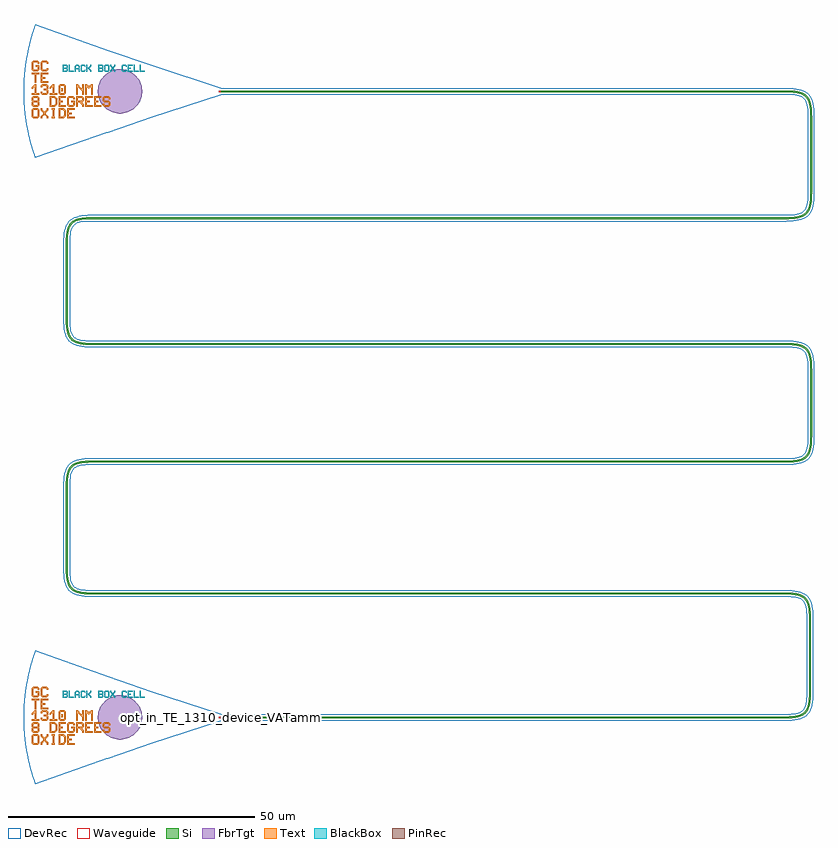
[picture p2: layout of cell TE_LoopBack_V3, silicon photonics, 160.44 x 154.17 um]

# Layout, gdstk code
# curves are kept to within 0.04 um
import gdstk
lib = gdstk.Library(unit=1e-6, precision=1e-09)
def R(c, l, rs):  # rectangles x0, y0, x1, y1
    for r in rs: c.add(gdstk.rectangle(r[:2], r[2:], *l))
def P(c, l, *ps):  # polygons
    for p in ps: c.add(gdstk.Polygon(p, *l))
Si = (1, 0)
PinRec = (1, 10)
Waveguide = (1, 99)
Text = (10, 0)
DevRec = (68, 0)
FbrTgt = (81, 0)
BlackBox = (998, 0)

waveguide_17 = lib.new_cell('Waveguide$17')
P(waveguide_17, Si, [(39.99,267.265),(39.99,267.615),(154.55,267.615),(155.762,267.655),(156.608,267.754),(157.44,267.965),(157.99,268.224),(158.574,268.726),(158.932,269.316),(159.178,270.083),(159.336,271.229),(159.375,272.44),(159.365,288.224),(159.207,289.802),(159.025,290.48),(158.825,290.93),(158.573,291.305),(158.264,291.614),(157.889,291.866),(157.314,292.108),(156.117,292.344),(154.55,292.415),(13.78,292.415),(12.734,292.443),(11.827,292.533),(11.195,292.657),(10.513,292.889),(10.049,293.144),(9.656,293.466),(9.333,293.86),(9.078,294.324),(8.846,295.006),(8.722,295.638),(8.606,297.369),(8.61,314.776),(8.699,316.122),(8.887,317.07),(9.199,317.848),(9.656,318.464),(10.159,318.857),(10.91,319.192),(11.828,319.398),(13.135,319.506),(154.79,319.515),(156.002,319.555),(156.848,319.654),(157.915,319.959),(158.325,320.184),(158.742,320.544),(159.007,320.901),(159.221,321.331),(159.418,321.983),(159.524,322.603),(159.614,324.123),(159.613,338.413),(159.543,339.763),(159.347,340.829),(159.171,341.32),(158.88,341.823),(158.504,342.219),(158.129,342.471),(157.554,342.713),(156.847,342.882),(155.219,343.016),(13.78,343.02),(12.542,343.06),(11.662,343.165),(10.909,343.344),(10.39,343.552),(9.944,343.823),(9.486,344.259),(9.136,344.806),(8.928,345.325),(8.749,346.078),(8.644,346.958),(8.605,348.195),(8.623,364.569),(8.699,365.502),(8.887,366.45),(9.137,367.11),(9.569,367.753),(10.159,368.237),(11.051,368.614),(12.175,368.822),(13.559,368.894),(154.79,368.895),(156.002,368.935),(156.848,369.034),(157.555,369.203),(158.13,369.445),(158.666,369.844),(159.007,370.281),(159.266,370.831),(159.448,371.509),(159.562,372.328),(159.614,373.503),(159.615,389.44),(159.523,391.178),(159.265,392.33),(159.065,392.78),(158.813,393.155),(158.504,393.464),(158.129,393.716),(157.679,393.916),(157.147,394.068),(156.182,394.212),(154.79,394.265),(39.99,394.265),(39.99,394.615),(155.011,394.614),(156.395,394.542),(157.374,394.374),(158.179,394.084),(158.822,393.652),(159.306,393.062),(159.595,392.448),(159.82,391.558),(159.937,390.486),(159.965,373.72),(159.926,372.483),(159.821,371.603),(159.642,370.85),(159.434,370.331),(159.084,369.784),(158.626,369.348),(158.18,369.077),(157.661,368.869),(156.908,368.69),(156.028,368.585),(154.79,368.545),(13.563,368.544),(12.213,368.474),(11.147,368.278),(10.441,367.996),(9.829,367.517),(9.505,367.06),(9.223,366.354),(9.047,365.458),(8.965,364.354),(8.955,348.195),(9.008,346.803),(9.093,346.138),(9.262,345.431),(9.504,344.856),(9.756,344.481),(10.065,344.172),(10.546,343.866),(11.146,343.638),(11.722,343.509),(12.568,343.41),(13.78,343.37),(155.225,343.366),(156.907,343.226),(157.66,343.047),(158.179,342.839),(158.625,342.568),(159.083,342.132),(159.433,341.585),(159.641,341.066),(159.871,339.977),(159.963,338.417),(159.964,324.119),(159.872,322.559),(159.724,321.756),(159.545,321.201),(159.307,320.719),(159.002,320.308),(158.626,319.968),(158.18,319.697),(157.661,319.489),(156.908,319.31),(156.028,319.205),(154.79,319.165),(13.147,319.156),(12.043,319.074),(11.147,318.898),(10.441,318.616),(9.904,318.216),(9.505,317.68),(9.223,316.974),(9.047,316.078),(8.96,314.77),(8.955,297.59),(9.046,295.853),(9.152,295.233),(9.349,294.581),(9.623,294.056),(9.904,293.714),(10.245,293.434),(10.77,293.16),(11.879,292.879),(13.78,292.765),(154.55,292.765),(156.155,292.692),(157.42,292.442),(157.939,292.234),(158.486,291.884),(158.843,291.527),(159.131,291.098),(159.355,290.598),(159.551,289.868),(159.715,288.236),(159.725,272.44),(159.686,271.203),(159.52,270.007),(159.252,269.174),(159.067,268.819),(158.762,268.408),(158.172,267.924),(157.558,267.635),(156.828,267.439),(155.788,267.305),(154.55,267.265)])
P(waveguide_17, Waveguide, [(39.99,267.265),(39.99,267.615),(154.55,267.615),(155.762,267.655),(156.608,267.754),(157.44,267.965),(157.99,268.224),(158.574,268.726),(158.932,269.316),(159.178,270.083),(159.336,271.229),(159.375,272.44),(159.365,288.224),(159.207,289.802),(159.025,290.48),(158.825,290.93),(158.573,291.305),(158.264,291.614),(157.889,291.866),(157.314,292.108),(156.117,292.344),(154.55,292.415),(13.78,292.415),(12.734,292.443),(11.827,292.533),(11.195,292.657),(10.513,292.889),(10.049,293.144),(9.656,293.466),(9.333,293.86),(9.078,294.324),(8.846,295.006),(8.722,295.638),(8.606,297.369),(8.61,314.776),(8.699,316.122),(8.887,317.07),(9.199,317.848),(9.656,318.464),(10.159,318.857),(10.91,319.192),(11.828,319.398),(13.135,319.506),(154.79,319.515),(156.002,319.555),(156.848,319.654),(157.915,319.959),(158.325,320.184),(158.742,320.544),(159.007,320.901),(159.221,321.331),(159.418,321.983),(159.524,322.603),(159.614,324.123),(159.613,338.413),(159.543,339.763),(159.347,340.829),(159.171,341.32),(158.88,341.823),(158.504,342.219),(158.129,342.471),(157.554,342.713),(156.847,342.882),(155.219,343.016),(13.78,343.02),(12.542,343.06),(11.662,343.165),(10.909,343.344),(10.39,343.552),(9.944,343.823),(9.486,344.259),(9.136,344.806),(8.928,345.325),(8.749,346.078),(8.644,346.958),(8.605,348.195),(8.623,364.569),(8.699,365.502),(8.887,366.45),(9.137,367.11),(9.569,367.753),(10.159,368.237),(11.051,368.614),(12.175,368.822),(13.559,368.894),(154.79,368.895),(156.002,368.935),(156.848,369.034),(157.555,369.203),(158.13,369.445),(158.666,369.844),(159.007,370.281),(159.266,370.831),(159.448,371.509),(159.562,372.328),(159.614,373.503),(159.615,389.44),(159.523,391.178),(159.265,392.33),(159.065,392.78),(158.813,393.155),(158.504,393.464),(158.129,393.716),(157.679,393.916),(157.147,394.068),(156.182,394.212),(154.79,394.265),(39.99,394.265),(39.99,394.615),(155.011,394.614),(156.395,394.542),(157.374,394.374),(158.179,394.084),(158.822,393.652),(159.306,393.062),(159.595,392.448),(159.82,391.558),(159.937,390.486),(159.965,373.72),(159.926,372.483),(159.821,371.603),(159.642,370.85),(159.434,370.331),(159.084,369.784),(158.626,369.348),(158.18,369.077),(157.661,368.869),(156.908,368.69),(156.028,368.585),(154.79,368.545),(13.563,368.544),(12.213,368.474),(11.147,368.278),(10.441,367.996),(9.829,367.517),(9.505,367.06),(9.223,366.354),(9.047,365.458),(8.965,364.354),(8.955,348.195),(9.008,346.803),(9.093,346.138),(9.262,345.431),(9.504,344.856),(9.756,344.481),(10.065,344.172),(10.546,343.866),(11.146,343.638),(11.722,343.509),(12.568,343.41),(13.78,343.37),(155.225,343.366),(156.907,343.226),(157.66,343.047),(158.179,342.839),(158.625,342.568),(159.083,342.132),(159.433,341.585),(159.641,341.066),(159.871,339.977),(159.963,338.417),(159.964,324.119),(159.872,322.559),(159.724,321.756),(159.545,321.201),(159.307,320.719),(159.002,320.308),(158.626,319.968),(158.18,319.697),(157.661,319.489),(156.908,319.31),(156.028,319.205),(154.79,319.165),(13.147,319.156),(12.043,319.074),(11.147,318.898),(10.441,318.616),(9.904,318.216),(9.505,317.68),(9.223,316.974),(9.047,316.078),(8.96,314.77),(8.955,297.59),(9.046,295.853),(9.152,295.233),(9.349,294.581),(9.623,294.056),(9.904,293.714),(10.245,293.434),(10.77,293.16),(11.879,292.879),(13.78,292.765),(154.55,292.765),(156.155,292.692),(157.42,292.442),(157.939,292.234),(158.486,291.884),(158.843,291.527),(159.131,291.098),(159.355,290.598),(159.551,289.868),(159.715,288.236),(159.725,272.44),(159.686,271.203),(159.52,270.007),(159.252,269.174),(159.067,268.819),(158.762,268.408),(158.172,267.924),(157.558,267.635),(156.828,267.439),(155.788,267.305),(154.55,267.265)])
P(waveguide_17, DevRec, [(39.99,266.765),(39.99,268.115),(154.55,268.115),(156.306,268.214),(157.149,268.395),(157.748,268.662),(158.165,269.016),(158.473,269.514),(158.698,270.232),(158.833,271.204),(158.864,288.242),(158.776,289.346),(158.472,290.517),(158.164,291.015),(157.974,291.205),(157.476,291.513),(157.148,291.636),(155.786,291.873),(154.55,291.915),(13.78,291.915),(11.838,292.026),(10.775,292.257),(10.301,292.436),(9.479,292.95),(9.139,293.29),(8.625,294.112),(8.446,294.586),(8.215,295.649),(8.105,297.59),(8.105,314.34),(8.152,315.685),(8.313,316.835),(8.626,317.819),(9.14,318.641),(9.869,319.265),(10.776,319.674),(11.839,319.905),(13.082,320.005),(154.79,320.015),(156.027,320.058),(156.999,320.193),(157.389,320.295),(157.988,320.562),(158.215,320.726),(158.569,321.143),(158.836,321.742),(158.938,322.132),(159.073,323.104),(159.115,338.194),(159.072,339.432),(158.835,340.794),(158.712,341.122),(158.404,341.62),(158.214,341.81),(157.716,342.118),(156.545,342.422),(154.79,342.52),(13.78,342.52),(12.435,342.567),(11.285,342.728),(10.301,343.041),(9.868,343.271),(9.139,343.895),(8.855,344.284),(8.446,345.191),(8.312,345.701),(8.151,346.851),(8.105,348.195),(8.116,364.42),(8.216,365.662),(8.447,366.725),(8.856,367.632),(9.14,368.021),(9.869,368.645),(10.776,369.054),(11.839,369.285),(13.78,369.395),(154.79,369.395),(156.546,369.494),(157.717,369.798),(158.215,370.106),(158.569,370.523),(158.836,371.122),(158.938,371.512),(159.105,373.068),(159.115,389.44),(159.072,390.677),(158.937,391.649),(158.835,392.039),(158.568,392.638),(158.404,392.865),(157.987,393.219),(157.388,393.486),(156.998,393.588),(156.026,393.723),(154.79,393.765),(39.99,393.765),(39.99,395.115),(154.79,395.115),(156.134,395.069),(157.284,394.908),(158.268,394.595),(159.09,394.081),(159.43,393.741),(159.944,392.919),(160.257,391.935),(160.418,390.785),(160.465,389.44),(160.465,373.72),(160.419,372.376),(160.258,371.226),(160.124,370.716),(159.715,369.809),(159.431,369.42),(158.702,368.796),(158.269,368.566),(157.285,368.253),(156.135,368.092),(154.79,368.045),(13.78,368.045),(12.544,368.003),(11.572,367.868),(10.854,367.643),(10.356,367.335),(10.166,367.145),(9.858,366.647),(9.633,365.929),(9.466,364.372),(9.497,346.959),(9.734,345.597),(9.857,345.269),(10.165,344.771),(10.355,344.581),(10.853,344.273),(12.024,343.969),(13.78,343.87),(155.488,343.86),(157.284,343.663),(158.268,343.35),(158.701,343.12),(159.43,342.496),(159.714,342.107),(160.123,341.2),(160.354,340.137),(160.465,338.196),(160.465,324.34),(160.355,322.399),(160.124,321.336),(159.945,320.862),(159.431,320.04),(159.091,319.7),(158.269,319.186),(157.795,319.007),(156.732,318.776),(154.79,318.665),(13.128,318.655),(12.025,318.567),(11.182,318.386),(10.583,318.119),(10.166,317.765),(9.858,317.267),(9.633,316.549),(9.466,314.992),(9.455,297.59),(9.553,295.835),(9.734,294.992),(9.857,294.664),(10.165,294.166),(10.355,293.976),(10.853,293.668),(12.024,293.364),(13.78,293.265),(154.55,293.265),(156.491,293.155),(157.554,292.924),(158.461,292.515),(158.85,292.231),(159.474,291.502),(159.704,291.069),(160.017,290.085),(160.214,288.29),(160.225,272.44),(160.179,271.096),(160.018,269.946),(159.705,268.962),(159.191,268.14),(158.462,267.516),(158.029,267.286),(157.045,266.973),(155.895,266.812),(154.55,266.765)])
waveguide_17.add(gdstk.FlexPath([(40,394.44),(39.98,394.44)], 0.35, ends="flush", simple_path=True, layer=1, datatype=10))  # PinRec
waveguide_17.add(gdstk.FlexPath([(40,267.44),(39.98,267.44)], 0.35, ends="flush", simple_path=True, layer=1, datatype=10))  # PinRec
waveguide_17.add(gdstk.Label('opt1', (39.99,394.44), layer=1, texttype=10))
waveguide_17.add(gdstk.Label('opt2', (39.99,267.44), layer=1, texttype=10))
waveguide_17.add(gdstk.Label('Lumerical_INTERCONNECT_library=Design kits/EBeam', (39.99,394.37), layer=68, texttype=0))
waveguide_17.add(gdstk.Label('Component=ebeam_wg_integral_1310', (39.99,394.51), layer=68, texttype=0))
waveguide_17.add(gdstk.Label('cellName=Waveguide', (39.99,394.58), layer=68, texttype=0))
waveguide_17.add(gdstk.Label('Length=954.697 (microns)', (39.99,394.02), layer=68, texttype=0))
waveguide_17.add(gdstk.Label('waveguide_type=Strip TE 1310 nm, w=350 nm', (39.99,394.3), layer=68, texttype=0))

text = lib.new_cell('TEXT')
P(text, BlackBox, [(0,0),(0,1.4),(0.8,1.4),(1,1.2),(0.2,1.2),(0.2,0.8),(0.7,0.8),(0.8,0.9),(0.8,1.1),(0.7,1.2),(1,1.2),(1,0.8),(0.9,0.7),(1,0.6),(0.2,0.6),(0.2,0.2),(0.7,0.2),(0.8,0.3),(0.8,0.5),(0.7,0.6),(1,0.6),(1,0.2),(0.8,0)],
  [(1.2,0),(1.2,1.4),(1.4,1.4),(1.4,0.2),(2.2,0.2),(2.2,0)],
  [(2.4,0),(2.4,1.1),(2.7,1.4),(3.1,1.4),(3.3,1.2),(2.8,1.2),(2.6,1),(2.6,0.7),(3.2,0.7),(3.2,1),(3,1.2),(3.3,1.2),(3.4,1.1),(3.4,0),(3.2,0),(3.2,0.5),(2.6,0.5),(2.6,0)],
  [(3.8,0),(3.6,0.2),(3.6,1.2),(3.8,1.4),(4.4,1.4),(4.6,1.2),(4.6,1),(4.4,1),(4.4,1.1),(4.3,1.2),(3.9,1.2),(3.8,1.1),(3.8,0.3),(3.9,0.2),(4.3,0.2),(4.4,0.3),(4.4,0.4),(4.6,0.4),(4.6,0.2),(4.4,0)],
  [(4.8,0),(4.8,1.4),(5,1.4),(5,0.8),(5.2,0.8),(5.6,1.2),(5.6,1.4),(5.8,1.4),(5.8,1.1),(5.4,0.7),(5.8,0.3),(5.8,0),(5.6,0),(5.6,0.2),(5.2,0.6),(5,0.6),(5,0)],
  [(7.2,0),(7.2,1.4),(8,1.4),(8.2,1.2),(7.4,1.2),(7.4,0.8),(7.9,0.8),(8,0.9),(8,1.1),(7.9,1.2),(8.2,1.2),(8.2,0.8),(8.1,0.7),(8.2,0.6),(7.4,0.6),(7.4,0.2),(7.9,0.2),(8,0.3),(8,0.5),(7.9,0.6),(8.2,0.6),(8.2,0.2),(8,0)],
  [(8.6,0),(8.4,0.2),(8.4,1.2),(8.6,1.4),(9.2,1.4),(9.4,1.2),(9.4,0.7),(9.2,0.7),(9.2,1.1),(9.1,1.2),(8.7,1.2),(8.6,1.1),(8.6,0.3),(8.7,0.2),(9.1,0.2),(9.2,0.3),(9.2,0.7),(9.4,0.7),(9.4,0.2),(9.2,0)],
  [(9.6,0),(9.6,0.3),(9.9,0.6),(9.9,0.8),(9.6,1.1),(9.6,1.4),(9.8,1.4),(9.8,1.2),(10.1,0.9),(10.4,1.2),(10.4,1.4),(10.6,1.4),(10.6,1.1),(10.3,0.8),(10.3,0.6),(10.6,0.3),(10.6,0),(10.4,0),(10.4,0.2),(10.1,0.5),(9.8,0.2),(9.8,0)],
  [(12.2,0),(12,0.2),(12,1.2),(12.2,1.4),(12.8,1.4),(13,1.2),(13,1),(12.8,1),(12.8,1.1),(12.7,1.2),(12.3,1.2),(12.2,1.1),(12.2,0.3),(12.3,0.2),(12.7,0.2),(12.8,0.3),(12.8,0.4),(13,0.4),(13,0.2),(12.8,0)],
  [(13.2,0),(13.2,1.4),(14.2,1.4),(14.2,1.2),(13.4,1.2),(13.4,0.8),(13.8,0.8),(13.8,0.6),(13.4,0.6),(13.4,0.2),(14.2,0.2),(14.2,0)],
  [(14.4,0),(14.4,1.4),(14.6,1.4),(14.6,0.2),(15.4,0.2),(15.4,0)],
  [(15.6,0),(15.6,1.4),(15.8,1.4),(15.8,0.2),(16.6,0.2),(16.6,0)])

gc_te_1310_8degoxide_bb = lib.new_cell('GC_TE_1310_8degOxide_BB')
R(gc_te_1310_8degoxide_bb, Waveguide, [(-0.4,-0.175,0,0.175)])
R(gc_te_1310_8degoxide_bb, Text, [(-32.27,0.06,-31.97,0.66)])
P(gc_te_1310_8degoxide_bb, Text, [(-37.67,1.71),(-37.67,3.51),(-38.27,3.51),(-38.27,3.81),(-36.77,3.81),(-36.77,3.51),(-37.37,3.51),(-37.37,1.71)],
  [(-37.97,-5.49),(-38.27,-5.19),(-38.27,-3.69),(-37.97,-3.39),(-37.07,-3.39),(-36.77,-3.69),(-36.77,-4.44),(-37.07,-4.44),(-37.07,-3.84),(-37.22,-3.69),(-37.82,-3.69),(-37.97,-3.84),(-37.97,-5.04),(-37.82,-5.19),(-37.22,-5.19),(-37.07,-5.04),(-37.07,-4.44),(-36.77,-4.44),(-36.77,-5.19),(-37.07,-5.49)],
  [(-31.07,-5.49),(-31.07,-3.39),(-29.57,-3.39),(-29.57,-3.69),(-30.77,-3.69),(-30.77,-4.29),(-30.17,-4.29),(-30.17,-4.59),(-30.77,-4.59),(-30.77,-5.19),(-29.57,-5.19),(-29.57,-5.49)],
  [(-32.87,-3.09),(-32.87,-0.99),(-31.37,-0.99),(-31.37,-1.29),(-32.57,-1.29),(-32.57,-1.89),(-31.97,-1.89),(-31.97,-2.19),(-32.57,-2.19),(-32.57,-2.79),(-31.37,-2.79),(-31.37,-3.09)],
  [(-27.47,-3.09),(-27.47,-0.99),(-25.97,-0.99),(-25.97,-1.29),(-27.17,-1.29),(-27.17,-1.89),(-26.57,-1.89),(-26.57,-2.19),(-27.17,-2.19),(-27.17,-2.79),(-25.97,-2.79),(-25.97,-3.09)],
  [(-25.67,-3.09),(-25.67,-0.99),(-24.17,-0.99),(-24.17,-1.29),(-25.37,-1.29),(-25.37,-1.89),(-24.77,-1.89),(-24.77,-2.19),(-25.37,-2.19),(-25.37,-2.79),(-24.17,-2.79),(-24.17,-3.09)],
  [(-36.47,1.71),(-36.47,3.81),(-34.97,3.81),(-34.97,3.51),(-36.17,3.51),(-36.17,2.91),(-35.57,2.91),(-35.57,2.61),(-36.17,2.61),(-36.17,2.01),(-34.97,2.01),(-34.97,1.71)],
  [(-27.47,-0.69),(-27.47,1.41),(-27.17,1.41),(-26.87,1.11),(-26.57,1.11),(-26.27,1.41),(-25.97,1.41),(-25.97,-0.69),(-26.27,-0.69),(-26.27,0.81),(-26.42,0.81),(-26.72,0.51),(-27.02,0.81),(-27.17,0.81),(-27.17,-0.69)],
  [(-29.27,-0.69),(-29.27,1.41),(-28.97,1.41),(-28.22,0.66),(-28.07,0.66),(-28.07,1.41),(-27.77,1.41),(-27.77,-0.69),(-28.07,-0.69),(-28.07,0.06),(-28.82,0.81),(-28.97,0.81),(-28.97,-0.69)],
  [(-34.22,-5.49),(-34.22,-5.19),(-34.07,-5.19),(-34.07,-3.69),(-34.22,-3.69),(-34.22,-3.39),(-33.62,-3.39),(-33.62,-3.69),(-33.77,-3.69),(-33.77,-5.19),(-33.62,-5.19),(-33.62,-5.49)],
  [(-36.17,-0.69),(-36.47,-0.39),(-36.47,-0.09),(-36.17,-0.09),(-36.17,-0.24),(-36.02,-0.39),(-35.42,-0.39),(-35.27,-0.24),(-35.27,0.06),(-35.42,0.21),(-35.87,0.21),(-35.87,0.51),(-35.42,0.51),(-35.27,0.66),(-35.27,0.96),(-35.42,1.11),(-36.02,1.11),(-36.17,0.96),(-36.17,0.81),(-36.47,0.81),(-36.47,1.11),(-36.17,1.41),(-35.27,1.41),(-34.97,1.11),(-34.97,0.51),(-35.12,0.36),(-34.97,0.21),(-34.97,-0.39),(-35.27,-0.69)],
  [(-29.27,-3.09),(-29.27,-0.99),(-28.07,-0.99),(-27.77,-1.29),(-28.97,-1.29),(-28.97,-1.89),(-28.22,-1.89),(-28.07,-1.74),(-28.07,-1.44),(-28.22,-1.29),(-27.77,-1.29),(-27.77,-1.89),(-28.07,-2.19),(-28.07,-2.34),(-27.77,-2.64),(-27.77,-3.09),(-28.07,-3.09),(-28.07,-2.79),(-28.67,-2.19),(-28.97,-2.19),(-28.97,-3.09)],
  [(-30.77,-3.09),(-31.07,-2.79),(-31.07,-1.29),(-30.77,-0.99),(-29.87,-0.99),(-29.57,-1.29),(-29.57,-1.59),(-29.87,-1.59),(-29.87,-1.44),(-30.02,-1.29),(-30.62,-1.29),(-30.77,-1.44),(-30.77,-2.64),(-30.62,-2.79),(-30.02,-2.79),(-29.87,-2.64),(-29.87,-2.19),(-30.32,-2.19),(-30.32,-1.89),(-29.57,-1.89),(-29.57,-2.79),(-29.87,-3.09)],
  [(-37.97,4.11),(-38.27,4.41),(-38.27,5.91),(-37.97,6.21),(-37.07,6.21),(-36.77,5.91),(-36.77,5.61),(-37.07,5.61),(-37.07,5.76),(-37.22,5.91),(-37.82,5.91),(-37.97,5.76),(-37.97,4.56),(-37.82,4.41),(-37.22,4.41),(-37.07,4.56),(-37.07,5.01),(-37.52,5.01),(-37.52,5.31),(-36.77,5.31),(-36.77,4.41),(-37.07,4.11)],
  [(-32.57,-0.69),(-32.87,-0.39),(-32.87,1.11),(-32.57,1.41),(-31.67,1.41),(-31.37,1.11),(-32.42,1.11),(-32.57,0.96),(-32.57,-0.24),(-32.42,-0.39),(-31.82,-0.39),(-31.67,-0.24),(-31.67,0.96),(-31.82,1.11),(-31.37,1.11),(-31.37,-0.39),(-31.67,-0.69)],
  [(-32.87,-5.49),(-32.87,-3.39),(-31.82,-3.39),(-31.52,-3.69),(-32.57,-3.69),(-32.57,-5.19),(-31.97,-5.19),(-31.67,-4.89),(-31.67,-3.99),(-31.97,-3.69),(-31.52,-3.69),(-31.37,-3.84),(-31.37,-5.04),(-31.82,-5.49)],
  [(-34.67,-3.09),(-34.67,-0.99),(-33.62,-0.99),(-33.32,-1.29),(-34.37,-1.29),(-34.37,-2.79),(-33.77,-2.79),(-33.47,-2.49),(-33.47,-1.59),(-33.77,-1.29),(-33.32,-1.29),(-33.17,-1.44),(-33.17,-2.64),(-33.62,-3.09)],
  [(-23.57,-3.09),(-23.87,-2.79),(-23.87,-2.49),(-23.57,-2.49),(-23.57,-2.64),(-23.42,-2.79),(-22.82,-2.79),(-22.67,-2.64),(-22.67,-2.34),(-22.82,-2.19),(-23.57,-2.19),(-23.87,-1.89),(-23.87,-1.29),(-23.57,-0.99),(-22.67,-0.99),(-22.37,-1.29),(-22.37,-1.59),(-22.67,-1.59),(-22.67,-1.44),(-22.82,-1.29),(-23.42,-1.29),(-23.57,-1.44),(-23.57,-1.74),(-23.42,-1.89),(-22.67,-1.89),(-22.37,-2.19),(-22.37,-2.79),(-22.67,-3.09)],
  [(-37.97,-3.09),(-38.27,-2.79),(-38.27,-2.19),(-38.12,-2.04),(-38.27,-1.89),(-38.27,-1.29),(-37.97,-0.99),(-37.07,-0.99),(-36.77,-1.29),(-37.82,-1.29),(-37.97,-1.44),(-37.97,-1.74),(-37.82,-1.89),(-37.22,-1.89),(-37.07,-1.74),(-37.07,-1.44),(-37.22,-1.29),(-36.77,-1.29),(-36.77,-1.89),(-36.92,-2.04),(-36.77,-2.19),(-37.82,-2.19),(-37.97,-2.34),(-37.97,-2.64),(-37.82,-2.79),(-37.22,-2.79),(-37.07,-2.64),(-37.07,-2.34),(-37.22,-2.19),(-36.77,-2.19),(-36.77,-2.79),(-37.07,-3.09)],
  [(-38.27,-0.69),(-38.27,-0.39),(-37.67,-0.39),(-37.67,0.81),(-37.82,0.81),(-38.12,0.51),(-38.27,0.51),(-38.27,0.81),(-37.67,1.41),(-37.37,1.41),(-37.37,-0.39),(-36.77,-0.39),(-36.77,-0.69)],
  [(-34.67,-0.69),(-34.67,-0.39),(-34.07,-0.39),(-34.07,0.81),(-34.22,0.81),(-34.52,0.51),(-34.67,0.51),(-34.67,0.81),(-34.07,1.41),(-33.77,1.41),(-33.77,-0.39),(-33.17,-0.39),(-33.17,-0.69)],
  [(-36.47,-5.49),(-36.47,-5.04),(-36.02,-4.59),(-36.02,-4.29),(-36.47,-3.84),(-36.47,-3.39),(-36.17,-3.39),(-36.17,-3.69),(-35.72,-4.14),(-35.27,-3.69),(-35.27,-3.39),(-34.97,-3.39),(-34.97,-3.84),(-35.42,-4.29),(-35.42,-4.59),(-34.97,-5.04),(-34.97,-5.49),(-35.27,-5.49),(-35.27,-5.19),(-35.72,-4.74),(-36.17,-5.19),(-36.17,-5.49)],
  [(-36.17,4.11),(-36.47,4.41),(-36.47,5.91),(-36.17,6.21),(-35.27,6.21),(-34.97,5.91),(-34.97,5.61),(-35.27,5.61),(-35.27,5.76),(-35.42,5.91),(-36.02,5.91),(-36.17,5.76),(-36.17,4.56),(-36.02,4.41),(-35.42,4.41),(-35.27,4.56),(-35.27,4.71),(-34.97,4.71),(-34.97,4.41),(-35.27,4.11)])
P(gc_te_1310_8degoxide_bb, DevRec, [(-37.607,-13.5),(-38.627,-10.245),(-39.378,-6.832),(-39.647,-5.058),(-39.835,-3.274),(-39.969,0.224),(-39.812,3.541),(-39.331,7.097),(-38.557,10.505),(-37.546,13.669),(-22.8,8.353),(-14.109,5.36),(0,0.75),(0,-0.75),(-14.109,-5.36)])
P(gc_te_1310_8degoxide_bb, FbrTgt, [(-20.621,-4.5),(-21.495,-4.37),(-22.326,-4.073),(-23.084,-3.619),(-23.738,-3.026),(-24.264,-2.316),(-24.642,-1.518),(-24.857,-0.661),(-24.9,0.221),(-24.77,1.095),(-24.473,1.926),(-24.019,2.684),(-23.426,3.338),(-22.716,3.864),(-21.918,4.242),(-21.061,4.457),(-20.179,4.5),(-19.305,4.37),(-18.474,4.073),(-17.716,3.619),(-17.062,3.026),(-16.536,2.316),(-16.158,1.518),(-15.943,0.661),(-15.9,-0.221),(-16.03,-1.095),(-16.327,-1.926),(-16.781,-2.684),(-17.374,-3.338),(-18.084,-3.864),(-18.882,-4.242),(-19.739,-4.457)])
gc_te_1310_8degoxide_bb.add(gdstk.FlexPath([(-0.01,0),(0.01,0)], 0.35, ends="flush", simple_path=True, layer=1, datatype=10))  # PinRec
gc_te_1310_8degoxide_bb.add(gdstk.Reference(text, (-32,4)))
gc_te_1310_8degoxide_bb.add(gdstk.Label('opt1', (0,0), layer=1, texttype=10))
gc_te_1310_8degoxide_bb.add(gdstk.Label('Lumerical_INTERCONNECT_library=Design kits/ebeam', (-29,-7), layer=68, texttype=0))
gc_te_1310_8degoxide_bb.add(gdstk.Label('Component=GC_TE_1310_8degOxide_BB', (-28,-5), layer=68, texttype=0))

te_loopback_v3 = lib.new_cell('TE_LoopBack_V3')
te_loopback_v3.add(gdstk.Reference(waveguide_17, (0,0)))
te_loopback_v3.add(gdstk.Reference(gc_te_1310_8degoxide_bb, (39.99,267.44)))
te_loopback_v3.add(gdstk.Reference(gc_te_1310_8degoxide_bb, (39.99,394.44)))
te_loopback_v3.add(gdstk.Label('opt_in_TE_1310_device_VATamma_devV3LoopBack3', (39.99,267.44), layer=10, texttype=0))

lib.write_gds('TE_LoopBack_V3.gds')
